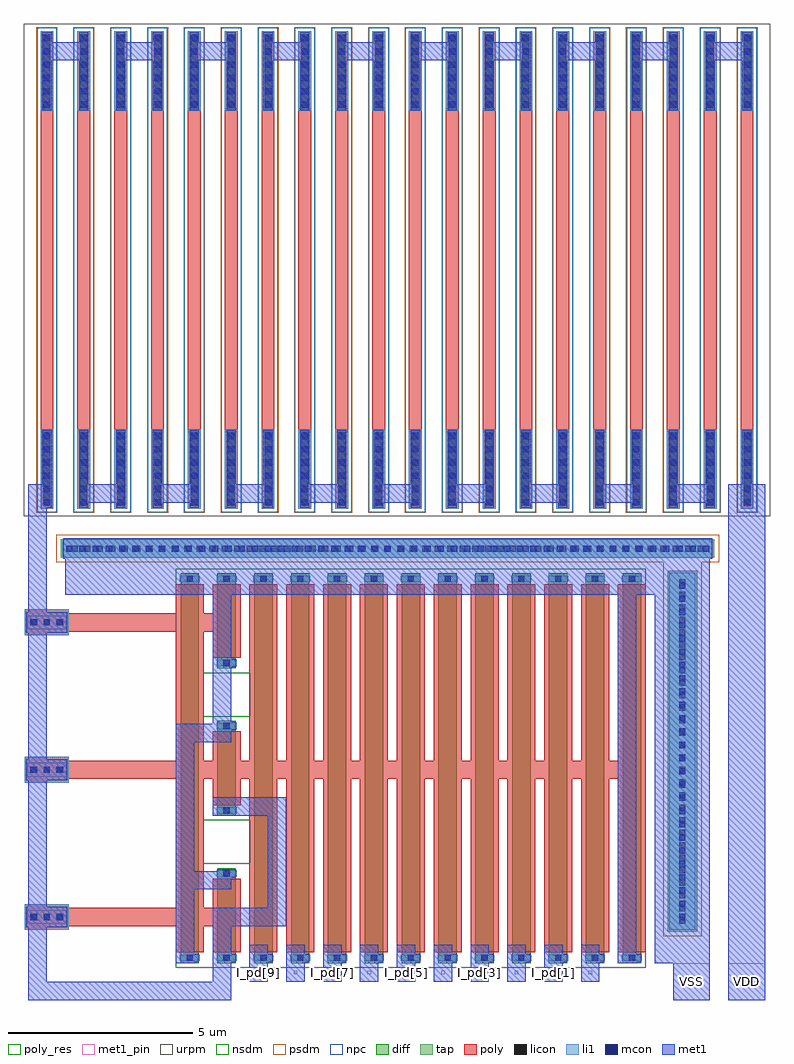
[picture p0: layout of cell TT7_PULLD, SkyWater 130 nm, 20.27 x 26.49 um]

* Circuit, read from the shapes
.subckt TT7_PULLD I_pd[0] I_pd[1] I_pd[2] I_pd[3] I_pd[4] I_pd[5] I_pd[6] I_pd[7] I_pd[8] I_pd[9] VDD VSS
XM1 VSS n1 VSS VSS sky130_fd_pr__nfet_01v8 w=0.5 l=10 m=2
XM2 VSS n1 n1 VSS sky130_fd_pr__nfet_01v8 w=0.5 l=2 m=2
XM3 VSS n1 VSS VSS sky130_fd_pr__nfet_01v8 w=0.5 l=2
XM4 VSS n1 I_pd[9] VSS sky130_fd_pr__nfet_01v8 w=0.5 l=10
XM5 VSS n1 I_pd[8] VSS sky130_fd_pr__nfet_01v8 w=0.5 l=10
XM6 VSS n1 I_pd[7] VSS sky130_fd_pr__nfet_01v8 w=0.5 l=10
XM7 VSS n1 I_pd[6] VSS sky130_fd_pr__nfet_01v8 w=0.5 l=10
XM8 VSS n1 I_pd[5] VSS sky130_fd_pr__nfet_01v8 w=0.5 l=10
XM9 VSS n1 I_pd[4] VSS sky130_fd_pr__nfet_01v8 w=0.5 l=10
XM10 VSS n1 I_pd[3] VSS sky130_fd_pr__nfet_01v8 w=0.5 l=10
XM11 VSS n1 I_pd[2] VSS sky130_fd_pr__nfet_01v8 w=0.5 l=10
XM12 VSS n1 I_pd[1] VSS sky130_fd_pr__nfet_01v8 w=0.5 l=10
XM13 VSS n1 I_pd[0] VSS sky130_fd_pr__nfet_01v8 w=0.5 l=10
XR14 n2 n1 VSS sky130_fd_pr__res_xhigh_po w=0.35 l=8.68
XR15 n2 n3 VSS sky130_fd_pr__res_xhigh_po w=0.35 l=8.68
XR16 n4 n3 VSS sky130_fd_pr__res_xhigh_po w=0.35 l=8.68
XR17 n4 n5 VSS sky130_fd_pr__res_xhigh_po w=0.35 l=8.68
XR18 n6 n5 VSS sky130_fd_pr__res_xhigh_po w=0.35 l=8.68
XR19 n6 n7 VSS sky130_fd_pr__res_xhigh_po w=0.35 l=8.68
XR20 n8 n7 VSS sky130_fd_pr__res_xhigh_po w=0.35 l=8.68
XR21 n8 n9 VSS sky130_fd_pr__res_xhigh_po w=0.35 l=8.68
XR22 n10 n9 VSS sky130_fd_pr__res_xhigh_po w=0.35 l=8.68
XR23 n10 n11 VSS sky130_fd_pr__res_xhigh_po w=0.35 l=8.68
XR24 n12 n11 VSS sky130_fd_pr__res_xhigh_po w=0.35 l=8.68
XR25 n12 n13 VSS sky130_fd_pr__res_xhigh_po w=0.35 l=8.68
XR26 n14 n13 VSS sky130_fd_pr__res_xhigh_po w=0.35 l=8.68
XR27 n14 n15 VSS sky130_fd_pr__res_xhigh_po w=0.35 l=8.68
XR28 n16 n15 VSS sky130_fd_pr__res_xhigh_po w=0.35 l=8.68
XR29 n16 n17 VSS sky130_fd_pr__res_xhigh_po w=0.35 l=8.68
XR30 n18 n17 VSS sky130_fd_pr__res_xhigh_po w=0.35 l=8.68
XR31 n18 n19 VSS sky130_fd_pr__res_xhigh_po w=0.35 l=8.68
XR32 n20 n19 VSS sky130_fd_pr__res_xhigh_po w=0.35 l=8.68
XR33 n20 VDD VSS sky130_fd_pr__res_xhigh_po w=0.35 l=8.68
.ends

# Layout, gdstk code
from math import pi, radians
import gdstk
lib = gdstk.Library(unit=1e-6, precision=1e-09)
def R(c, l, rs):  # rectangles x0, y0, x1, y1
    for r in rs: c.add(gdstk.rectangle(r[:2], r[2:], *l))
def A(c, l, x, y, w, h, nx, ny, dx, dy):  # array of equal rectangles
    R(c, l, [(x+i*dx, y+j*dy, x+i*dx+w, y+j*dy+h) for i in range(nx) for j in range(ny)])
diff = (65, 20)
tap = (65, 44)
poly_res = (66, 13)
poly = (66, 20)
licon = (66, 44)
li1 = (67, 20)
mcon = (67, 44)
met1_pin = (68, 16)
met1 = (68, 20)
urpm = (79, 20)
nsdm = (93, 44)
psdm = (94, 20)
npc = (95, 20)

sky130_fd_pr__res_xhigh_ = lib.new_cell('sky130_fd_pr__res_xhigh_po_0p35_PPFX84')
R(sky130_fd_pr__res_xhigh_, poly_res, [(-0.175,-4.4,0.175,4.4)])
R(sky130_fd_pr__res_xhigh_, poly, [(-0.175,-6.48,0.175,6.48)])
R(sky130_fd_pr__res_xhigh_, licon, [(-0.095,-6.4,0.095,-4.4), (-0.095,4.4,0.095,6.4)])
R(sky130_fd_pr__res_xhigh_, li1, [(-0.175,-6.48,0.175,-4.32), (-0.175,4.32,0.175,6.48)])
A(sky130_fd_pr__res_xhigh_, mcon, -0.085, -6.385, 0.17, 0.17, 1, 6, 0, 0.36)
A(sky130_fd_pr__res_xhigh_, mcon, -0.085, 4.41, 0.17, 0.17, 1, 6, 0, 0.36)
R(sky130_fd_pr__res_xhigh_, met1, [(-0.125,-6.45,0.125,-4.345), (-0.125,4.345,0.125,6.45)])
R(sky130_fd_pr__res_xhigh_, urpm, [(-0.635,-6.68,0.635,6.68)])
R(sky130_fd_pr__res_xhigh_, psdm, [(-0.285,-6.59,0.285,6.59)])
R(sky130_fd_pr__res_xhigh_, npc, [(-0.27,-6.575,0.27,6.575)])

sky130_fd_pr__nfet_01v8_ = lib.new_cell('sky130_fd_pr__nfet_01v8_JJG5DQ')
R(sky130_fd_pr__nfet_01v8_, diff, [(-5.29,-0.25,5.29,0.25)])
R(sky130_fd_pr__nfet_01v8_, poly, [(-5,-0.38,5,0.38)])
R(sky130_fd_pr__nfet_01v8_, licon, [(-5.23,-0.085,-5.06,0.085), (5.06,-0.085,5.23,0.085)])
R(sky130_fd_pr__nfet_01v8_, li1, [(-5.23,-0.27,-5.06,0.27), (5.06,-0.27,5.23,0.27)])
R(sky130_fd_pr__nfet_01v8_, mcon, [(-5.23,-0.085,-5.06,0.085), (5.06,-0.085,5.23,0.085)])
R(sky130_fd_pr__nfet_01v8_, met1, [(-5.26,-0.25,-5.03,0.25), (5.03,-0.25,5.26,0.25)])
R(sky130_fd_pr__nfet_01v8_, nsdm, [(-5.415,-0.375,5.415,0.375)])

c_sky130_fd_pr__nfet_01v8_ = lib.new_cell('sky130_fd_pr__nfet_01v8_MW46GQ')
R(c_sky130_fd_pr__nfet_01v8_, diff, [(-1.29,-0.25,1.29,0.25)])
R(c_sky130_fd_pr__nfet_01v8_, poly, [(-1,-0.38,1,0.38)])
R(c_sky130_fd_pr__nfet_01v8_, licon, [(-1.23,-0.085,-1.06,0.085), (1.06,-0.085,1.23,0.085)])
R(c_sky130_fd_pr__nfet_01v8_, li1, [(-1.23,-0.27,-1.06,0.27), (1.06,-0.27,1.23,0.27)])
R(c_sky130_fd_pr__nfet_01v8_, mcon, [(-1.23,-0.085,-1.06,0.085), (1.06,-0.085,1.23,0.085)])
R(c_sky130_fd_pr__nfet_01v8_, met1, [(-1.26,-0.25,-1.03,0.25), (1.03,-0.25,1.26,0.25)])
R(c_sky130_fd_pr__nfet_01v8_, nsdm, [(-1.415,-0.375,1.415,0.375)])

tt7_pulld = lib.new_cell('TT7_PULLD')
R(tt7_pulld, tap, [(17.35,6.35,18.15,16.15), (0.88,16.5,18.62,17)])
R(tt7_pulld, poly, [(-0.1,6.4,1.1,6.5), (-0.1,6.5,5.5,7), (-0.1,7,1.1,7.1), (-0.1,10.4,1.1,10.5), (-0.1,10.5,16.5,11), (-0.1,11,1.1,11.1), (-0.1,14.4,1.1,14.5), (-0.1,14.5,5.5,15), (-0.1,15,1.1,15.1)])
A(tt7_pulld, licon, 17.665, 6.575, 0.17, 0.17, 1, 28, 0, 0.34)
A(tt7_pulld, licon, 0.075, 6.665, 0.17, 0.17, 3, 3, 0.34, 4)
A(tt7_pulld, licon, 1.165, 16.665, 0.17, 0.17, 51, 1, 0.34, 0)
A(tt7_pulld, li1, -0.1, 6.4, 1.2, 0.7, 1, 3, 0, 4)
R(tt7_pulld, li1, [(17.4,6.4,18.1,16.1), (0.92,16.5,18.58,17)])
A(tt7_pulld, mcon, 0.055, 6.665, 0.17, 0.17, 3, 3, 0.36, 4)
A(tt7_pulld, mcon, 17.665, 6.665, 0.17, 0.17, 1, 26, 0, 0.36)
A(tt7_pulld, mcon, 1.025, 16.665, 0.17, 0.17, 49, 1, 0.36, 0)
A(tt7_pulld, met1_pin, 6.2, 5.2, 0.1, 0.1, 10, 1, 1, 0)
R(tt7_pulld, met1_pin, [(17.5,4.5,18.5,5.5), (19,4.5,20,5.5)])
A(tt7_pulld, met1, 6, 5, 0.5, 1, 10, 1, 1, 0)
A(tt7_pulld, met1, -0.06, 6.47, 1.12, 0.56, 1, 3, 0, 4)
A(tt7_pulld, met1, 1.5, 18, 1, 0.5, 9, 1, 2, 0)
A(tt7_pulld, met1, 0.5, 30, 1, 0.5, 10, 1, 2, 0)
R(tt7_pulld, met1, [(0,4.5,5.5,5), (17.5,4.5,18.5,5.5), (19,4.5,20,18.5), (0,5,0.5,6.47), (5,5,5.5,6.5), (4,5.5,4.5,7.5), (16,5.5,16.5,15.5), (17,5.5,18.5,15.5), (5,6.5,7,7), (6.5,7,7,9.5), (0,7.03,0.5,10.47), (4,7.5,5.5,8), (4,8,4.5,11.5), (5,9.5,7,10), (0,11.03,0.5,14.47), (4,11.5,5.5,12), (5,12,5.5,15.5), (0,15.03,0.5,18.5), (1,15.5,18.5,16.47), (0.94,16.47,18.56,17.03)])
A(tt7_pulld, nsdm, 4.755, 5.375, 0.25, 2.83, 1, 3, 0, 4)
A(tt7_pulld, nsdm, 5.755, 5.375, 0.25, 2.83, 1, 3, 0, 4)
A(tt7_pulld, nsdm, 6.755, 5.375, 0.25, 10.83, 10, 1, 1, 0)
R(tt7_pulld, psdm, [(17.225,6.225,18.275,16.375), (0.755,16.375,18.745,17.125)])
A(tt7_pulld, npc, -0.025, 6.565, 1.05, 0.37, 1, 3, 0, 4)
tt7_pulld.add(gdstk.Reference(sky130_fd_pr__res_xhigh_, (0.505,24.31)))
tt7_pulld.add(gdstk.Reference(sky130_fd_pr__res_xhigh_, (1.505,24.31)))
tt7_pulld.add(gdstk.Reference(sky130_fd_pr__res_xhigh_, (2.505,24.31)))
tt7_pulld.add(gdstk.Reference(sky130_fd_pr__res_xhigh_, (3.505,24.31)))
tt7_pulld.add(gdstk.Reference(sky130_fd_pr__nfet_01v8_, (4.38,10.79), rotation=3*pi/2))
tt7_pulld.add(gdstk.Reference(sky130_fd_pr__res_xhigh_, (4.505,24.31)))
tt7_pulld.add(gdstk.Reference(c_sky130_fd_pr__nfet_01v8_, (5.38,6.79), rotation=3*pi/2))
tt7_pulld.add(gdstk.Reference(c_sky130_fd_pr__nfet_01v8_, (5.38,10.79), rotation=3*pi/2))
tt7_pulld.add(gdstk.Reference(c_sky130_fd_pr__nfet_01v8_, (5.38,14.79), rotation=3*pi/2))
tt7_pulld.add(gdstk.Reference(sky130_fd_pr__res_xhigh_, (5.505,24.31)))
tt7_pulld.add(gdstk.Reference(sky130_fd_pr__nfet_01v8_, (6.38,10.79), rotation=3*pi/2))
tt7_pulld.add(gdstk.Reference(sky130_fd_pr__res_xhigh_, (6.505,24.31)))
tt7_pulld.add(gdstk.Reference(sky130_fd_pr__nfet_01v8_, (7.38,10.79), rotation=3*pi/2))
tt7_pulld.add(gdstk.Reference(sky130_fd_pr__res_xhigh_, (7.505,24.31)))
tt7_pulld.add(gdstk.Reference(sky130_fd_pr__nfet_01v8_, (8.38,10.79), rotation=3*pi/2))
tt7_pulld.add(gdstk.Reference(sky130_fd_pr__res_xhigh_, (8.505,24.31)))
tt7_pulld.add(gdstk.Reference(sky130_fd_pr__nfet_01v8_, (9.38,10.79), rotation=3*pi/2))
tt7_pulld.add(gdstk.Reference(sky130_fd_pr__res_xhigh_, (9.505,24.31)))
tt7_pulld.add(gdstk.Reference(sky130_fd_pr__nfet_01v8_, (10.38,10.79), rotation=3*pi/2))
tt7_pulld.add(gdstk.Reference(sky130_fd_pr__nfet_01v8_, (11.38,10.79), rotation=3*pi/2))
tt7_pulld.add(gdstk.Reference(sky130_fd_pr__res_xhigh_, (10.505,24.31)))
tt7_pulld.add(gdstk.Reference(sky130_fd_pr__res_xhigh_, (11.505,24.31)))
tt7_pulld.add(gdstk.Reference(sky130_fd_pr__nfet_01v8_, (12.38,10.79), rotation=3*pi/2))
tt7_pulld.add(gdstk.Reference(sky130_fd_pr__res_xhigh_, (12.505,24.31)))
tt7_pulld.add(gdstk.Reference(sky130_fd_pr__nfet_01v8_, (13.38,10.79), rotation=3*pi/2))
tt7_pulld.add(gdstk.Reference(sky130_fd_pr__res_xhigh_, (13.505,24.31)))
tt7_pulld.add(gdstk.Reference(sky130_fd_pr__nfet_01v8_, (14.38,10.79), rotation=3*pi/2))
tt7_pulld.add(gdstk.Reference(sky130_fd_pr__res_xhigh_, (14.505,24.31)))
tt7_pulld.add(gdstk.Reference(sky130_fd_pr__nfet_01v8_, (15.38,10.79), rotation=3*pi/2))
tt7_pulld.add(gdstk.Reference(sky130_fd_pr__res_xhigh_, (15.505,24.31)))
tt7_pulld.add(gdstk.Reference(sky130_fd_pr__nfet_01v8_, (16.38,10.79), rotation=3*pi/2))
tt7_pulld.add(gdstk.Reference(sky130_fd_pr__res_xhigh_, (16.505,24.31)))
tt7_pulld.add(gdstk.Reference(sky130_fd_pr__res_xhigh_, (17.505,24.31)))
tt7_pulld.add(gdstk.Reference(sky130_fd_pr__res_xhigh_, (18.505,24.31)))
tt7_pulld.add(gdstk.Reference(sky130_fd_pr__res_xhigh_, (19.505,24.31)))
tt7_pulld.add(gdstk.Label('VDD', (19.5,5), layer=68, texttype=5))
tt7_pulld.add(gdstk.Label('VSS', (18,5), layer=68, texttype=5))
tt7_pulld.add(gdstk.Label('I_pd[9]', (6.25,5.25), layer=68, texttype=5))
tt7_pulld.add(gdstk.Label('I_pd[8]', (7.25,5.25), layer=68, texttype=5))
tt7_pulld.add(gdstk.Label('I_pd[7]', (8.25,5.25), layer=68, texttype=5))
tt7_pulld.add(gdstk.Label('I_pd[6]', (9.25,5.25), layer=68, texttype=5))
tt7_pulld.add(gdstk.Label('I_pd[5]', (10.25,5.25), layer=68, texttype=5))
tt7_pulld.add(gdstk.Label('I_pd[4]', (11.25,5.25), layer=68, texttype=5))
tt7_pulld.add(gdstk.Label('I_pd[3]', (12.25,5.25), layer=68, texttype=5))
tt7_pulld.add(gdstk.Label('I_pd[2]', (13.25,5.25), layer=68, texttype=5))
tt7_pulld.add(gdstk.Label('I_pd[1]', (14.25,5.25), layer=68, texttype=5))
tt7_pulld.add(gdstk.Label('I_pd[0]', (15.25,5.25), layer=68, texttype=5))

lib.write_gds('TT7_PULLD.gds')
